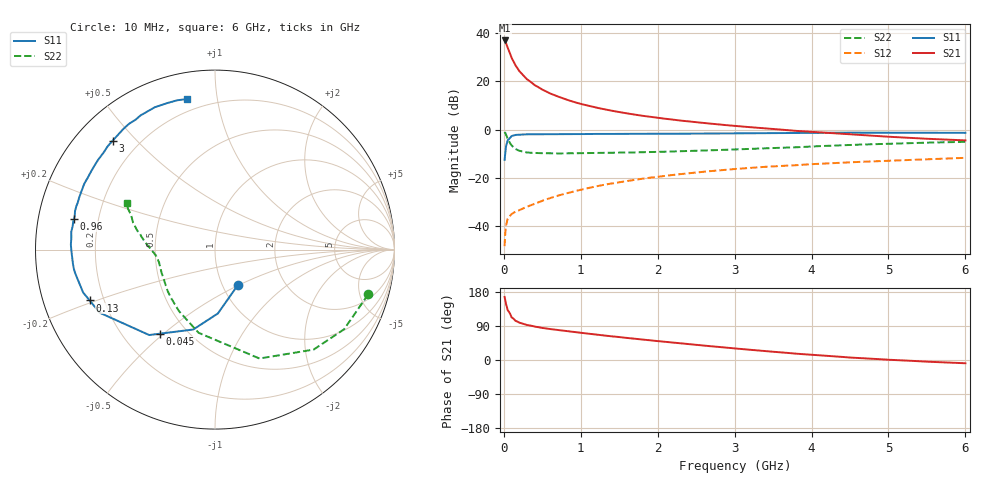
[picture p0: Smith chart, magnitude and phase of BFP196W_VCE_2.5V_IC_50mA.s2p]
! Infineon Technologies  Discrete & RF Semiconductors
! BFP196W
! VCE = 2.5 V,  IC =  50mA
! Common Emitter S-Parameters:  Jan 2016
# GHz  S  MA  R  50
!  f  S11  S21  S12  S22
! GHz  MAG  ANG  MAG  ANG  MAG  ANG  MAG  ANG
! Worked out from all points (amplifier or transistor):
!   210 points, 10 MHz to 6 GHz, reference 50 ohm
!   highest |S21| = 37.0 dB at 10 MHz (marker M1)
!   |S21| within 3 dB of that: start of sweep to 49.68 MHz
!   unconditionally stable (mu >= 1): 588.8 MHz to 3.331 GHz
!   at 185 MHz: K = 0.57, MSG = 29.4 dB, |S12| = -33.7 dB
!   at 1.52 GHz: K = 1.11, MAG = 12.4 dB, |S12| = -21.8 dB
!   at 6 GHz: K = 0.96, MSG = 3.6 dB, |S12| = -11.8 dB
!   S11 on the Smith chart (normalised r, x): 10 MHz: 1.18, -0.49; 45 MHz: 0.36, -0.49; 130 MHz: 0.15, -0.19; 960 MHz: 0.11, +0.11; 3 GHz: 0.11, +0.43; 6 GHz: 0.13, +0.82
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0.01  0.2353 -57.4  70.45 166.3  0.0038 75.6  0.8892 -16.3
0.02  0.3561 -87.4  67.29 156.1  0.0076 67.6  0.8451 -31.7
0.03  0.4612 -105.2  61.68 146.4  0.0104 61.5  0.7824 -45.4
0.045  0.5589 -123.1  52.33 135.8  0.0131 52.4  0.6764 -61.5
0.05  0.6008 -127.6  49.71 131.4  0.014 50.2  0.6553 -67.8
0.1  0.7324 -151.3  30.7 112.8  0.0176 40.0  0.4722 -101.2
0.13  0.7535 -157.9  25.11 108.1  0.0189 38.8  0.4212 -111.9
0.15  0.7727 -162.0  21.53 103.6  0.0197 38.1  0.397 -120.4
0.2  0.7833 -167.7  16.38 98.7  0.0212 40.8  0.3634 -132.6
0.24  0.791 -170.9  13.91 95.9  0.0226 43.0  0.3503 -138.8
0.3  0.7954 -174.3  11.06 92.5  0.025 46.1  0.334 -146.6
0.4  0.7993 -178.8  8.358 88.1  0.0285 50.7  0.3262 -154.1
0.6  0.803 175.4  5.617 81.7  0.0377 56.4  0.3205 -162.6
0.96  0.8039 167.6  3.543 72.8  0.0544 60.8  0.3224 -169.2
1.02  0.8042 166.4  3.337 71.4  0.0572 61.2  0.323 -170.0
1.4  0.8103 159.4  2.459 62.5  0.0759 61.3  0.3293 -173.4
2.02  0.8156 148.8  1.733 49.5  0.1059 58.3  0.3441 -177.6
3  0.8329 133.2  1.188 30.6  0.1513 50.4  0.386 174.7
3.1  0.8349 131.6  1.153 28.9  0.1555 49.4  0.3911 173.9
4.1  0.8554 117.9  0.876 12.5  0.1946 40.8  0.4518 165.4
5.1  0.8582 107.3  0.695 -0.2  0.2281 32.5  0.5108 157.1
6  0.8531 100.4  0.595 -8.6  0.2585 26.1  0.5553 152.3
